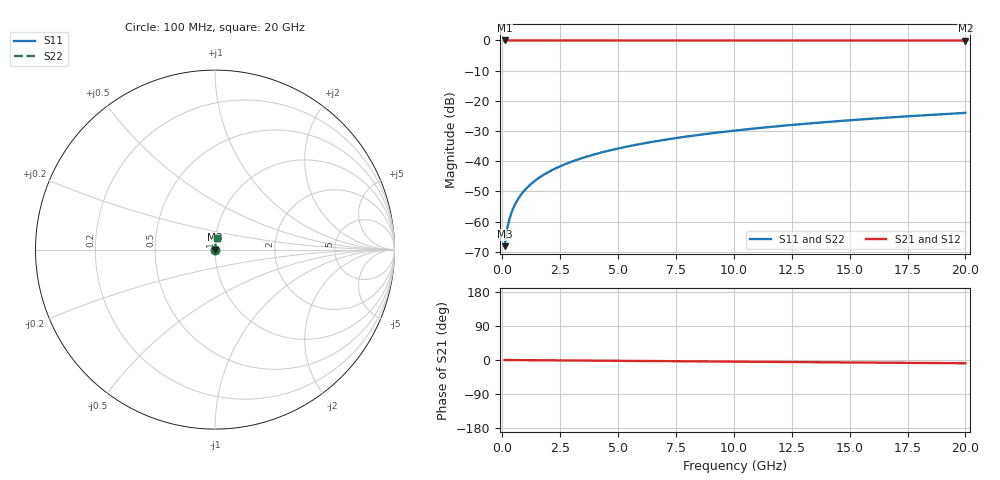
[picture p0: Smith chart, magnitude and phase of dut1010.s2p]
! Touchstone file exported from HFSS 2026.1.0
!  File:  C:/ffzhzh/LocalFiles/Ansys_Project_Files/temp_train_TSV_1010_1783188633_22436.aedt
!  Generated:  02:12:05 AM Jul  5, 2026
!  Design:  TSV
!  Project:  temp_train_TSV_1010_1783188633_22436
! Variables:
!  h_bsmrdl = 2um
!  h_ox = 20um
!  h_rdl = 5um
!  h_sub = 71.41um
!  h_tmrdl = 5um
!  h_tsv = 71.41um
!  h_via = 3um
!  l_bsmrdl = 300um
!  l_sub = 415.76um
!  l_tmrdl = 200um
!  m_sub = 200um
!  pitch = 57.52um
!  r_tsv = 7.88um
!  s_tmrdl = 10um
!  w_bsmrdl = 18um
!  w_sub = 500um
!  w_tmrdl = 12um
!  x_tsv_center1 = 206um
!  x_tsv_center2 = 524um
!  x_tsv_center3 = 736um
!  x_tsv_center4 = 1054um
!  x_tsv_center5 = 1266um
!  x_tsv_center6 = 1584um
# GHz S MA R 50.000000
! Terminal data exported
! Port[1] = TSV1_1_T1
! Port[2] = TSV1_1_T2
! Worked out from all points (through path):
!   200 points, 100 MHz to 20 GHz, reference 50 ohm
!   highest |S21| = 0.00 dB at 100 MHz (marker M1); lowest = 0.0 dB at 20 GHz (marker M2)
!   group delay of S21, straight-line fit = 1.19 ps
!   lowest |S11| = -68.1 dB at 100 MHz (marker M3), VSWR 1.00, Z = 50 + j0.0355 ohm
!   |S11| at or under -10 dB: start of sweep to end of sweep
!   |S22| runs from -68.1 to -24.0 dB; largest |S21 - S12| = 2.1e-15
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0.1  0.0003915 65.0  0.9998 -0.0  0.9998 -0.0  0.0003915 65.0
! Gamma 0 0 0 0
! Port Impedance 50 0 50 0
0.2  0.0007292 76.1  0.9998 -0.1  0.9998 -0.1  0.0007292 76.1
0.3  0.001075 79.8  0.9998 -0.1  0.9998 -0.1  0.001075 79.8
0.4  0.001419 81.5  0.9998 -0.2  0.9998 -0.2  0.001419 81.5
0.5  0.00176 82.5  0.9998 -0.2  0.9998 -0.2  0.00176 82.5
0.6  0.002097 83.1  0.9998 -0.3  0.9998 -0.3  0.002097 83.1
0.7  0.002431 83.5  0.9997 -0.3  0.9997 -0.3  0.002431 83.5
0.8  0.002762 83.8  0.9997 -0.4  0.9997 -0.4  0.002762 83.8
1  0.003418 84.2  0.9997 -0.4  0.9997 -0.4  0.003418 84.2
1.4  0.004713 84.8  0.9996 -0.6  0.9996 -0.6  0.004713 84.8
1.7  0.005679 85.1  0.9996 -0.7  0.9996 -0.7  0.005679 85.1
2  0.006643 85.4  0.9995 -0.9  0.9995 -0.9  0.006643 85.4
2.7  0.00889 85.6  0.9995 -1.2  0.9995 -1.2  0.00889 85.6
3.5  0.01145 85.7  0.9994 -1.5  0.9994 -1.5  0.01145 85.7
4.2  0.01369 85.6  0.9993 -1.8  0.9993 -1.8  0.01369 85.6
5  0.01623 85.5  0.9992 -2.2  0.9992 -2.2  0.01623 85.5
6.8  0.02194 85.0  0.999 -2.9  0.999 -2.9  0.02194 85.0
8.3  0.02667 84.6  0.9988 -3.6  0.9988 -3.6  0.02667 84.6
10.1  0.03232 84.0  0.9985 -4.3  0.9985 -4.3  0.03232 84.0
13.4  0.04265 82.8  0.998 -5.8  0.998 -5.8  0.04265 82.8
16.7  0.05291 81.5  0.9974 -7.2  0.9974 -7.2  0.05291 81.5
20  0.0631 80.2  0.9967 -8.6  0.9967 -8.6  0.0631 80.2
